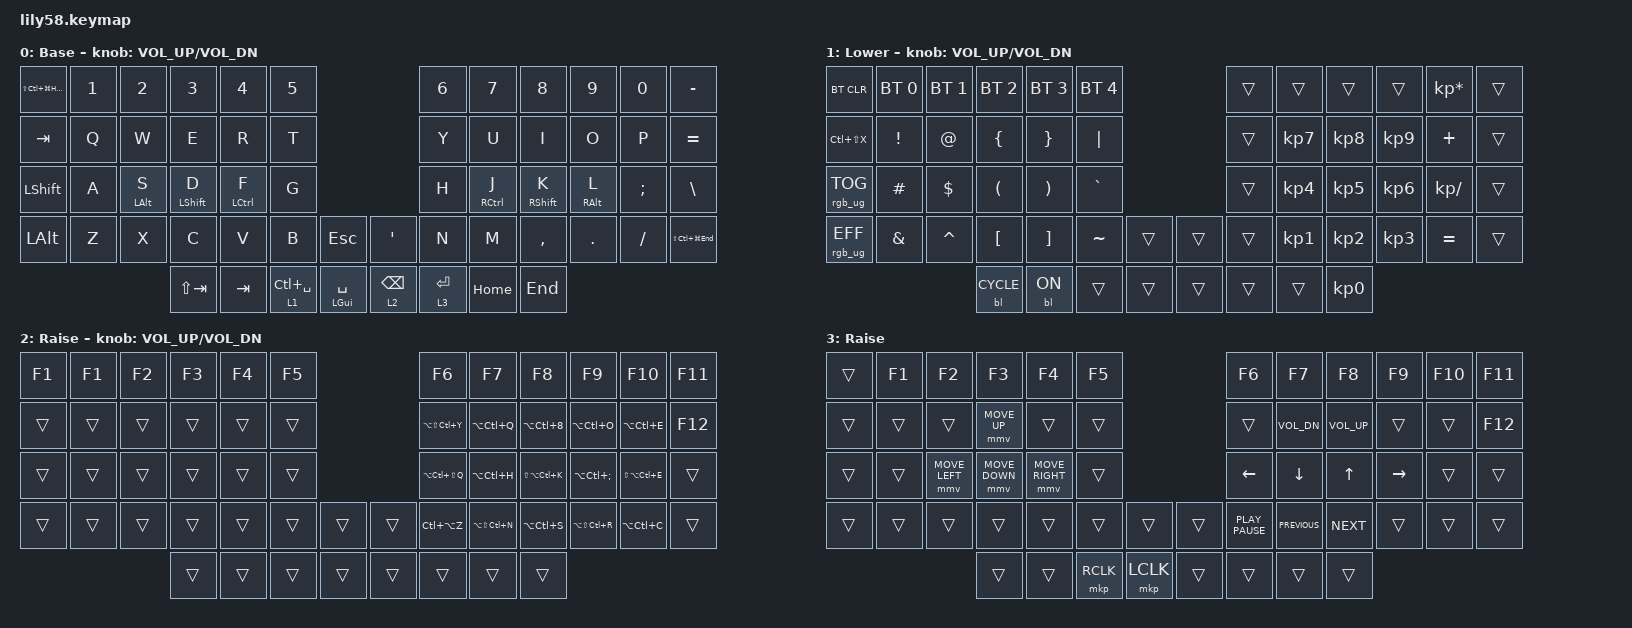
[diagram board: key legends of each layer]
/*
 * Copyright (c) 2020 The ZMK Contributors
 *
 * SPDX-License-Identifier: MIT
 */

#include <behaviors.dtsi>
#include <dt-bindings/zmk/backlight.h>
#include <dt-bindings/zmk/bt.h>
#include <dt-bindings/zmk/keys.h>
#include <dt-bindings/zmk/pointing.h>
#include <dt-bindings/zmk/rgb.h>

/ {
    behaviors {
        hold_or_tap: hold_or_tap {
            compatible = "zmk,behavior-hold-tap";
            label = "HOLD_OR_TAP";
            bindings = <&kp>, <&kp>;

            #binding-cells = <2>;
            tapping-term-ms = <200>;
            flavor = "tap-preferred";
        };
    };

    combos {
        compatible = "zmk,combos";

        tmux_next_window {
            bindings = <&tmux_next_window>;
            key-positions = <19 20 21>;
        };

        tmux_split_horizontally {
            bindings = <&tmux_split_horizontally>;
            key-positions = <32 31 33>;
        };

        tmux_split_vertically {
            bindings = <&tmux_split_vertically>;
            key-positions = <49 35 23>;
        };

        better_task_switcher {
            bindings = <&better_task_switcher>;
            key-positions = <52 16>;
        };

        better_task_switcher_shifted {
            bindings = <&better_task_switcher_shifted>;
            key-positions = <52 15>;
        };
    };

    macros {
        tmux_next_window: tmux_next_window {
            compatible = "zmk,behavior-macro";
            #binding-cells = <0>;
            bindings = <&macro_tap>, <&kp LC(A) &kp N>;

            label = "TMUX_NEXT_WINDOW";
        };

        tmux_split_horizontally: tmux_split_horizontally {
            compatible = "zmk,behavior-macro";
            #binding-cells = <0>;
            bindings = <&macro_tap>, <&kp LC(A) &kp DOUBLE_QUOTES>;

            label = "TMUX_SPLIT_HORIZONTALLY";
        };

        tmux_split_vertically: tmux_split_vertically {
            compatible = "zmk,behavior-macro";
            #binding-cells = <0>;
            bindings = <&macro_tap>, <&kp LC(A) &kp LS(N5)>;

            label = "TMUX_SPLIT_VERTICALLY";
        };

        better_task_switcher: better_task_switcher {
            compatible = "zmk,behavior-macro";
            #binding-cells = <0>;
            bindings = <&macro_press>, <&kp LGUI>, <&macro_tap>, <&kp TAB>;

            label = "BETTER_TASK_SWITCHER";
        };

        better_task_switcher_shifted: better_task_switcher_shifted {
            compatible = "zmk,behavior-macro";
            #binding-cells = <0>;
            bindings = <&macro_press>, <&kp LGUI>, <&macro_tap>, <&kp LS(TAB)>;

            label = "BETTER_TASK_SWITCHER_SHIFTED";
        };
    };

    keymap {
        compatible = "zmk,keymap";

        default_layer {
            // ------------------------------------------------------------------------------------------------------------
            // |  ESC  |  1  |  2  |  3   |  4   |  5   |                   |  6   |  7    |  8    |  9   |   0   |   `   |
            // |  TAB  |  Q  |  W  |  E   |  R   |  T   |                   |  Y   |  U    |  I    |  O   |   P   |   -   |
            // |  CTRL |  A  |  S  |  D   |  F   |  G   |                   |  H   |  J    |  K    |  L   |   ;   |   '   |
            // | SHIFT |  Z  |  X  |  C   |  V   |  B   |   "["  |  |  "]"  |  N   |  M    |  ,    |  .   |   /   | SHIFT |
            //                     | ALT  | GUI  | LOWER|  SPACE |  | ENTER | RAISE| BSPC  | GUI   |

            display-name = "Base";
            bindings = <
&kp LS(LC(LG(HOME)))  &kp N1  &kp N2                   &kp N3                     &kp N4                       &kp N5                                                        &kp N6       &kp N7                        &kp N8                 &kp N9                    &kp N0    &kp MINUS
&kp TAB               &kp Q   &kp W                    &kp E                      &kp R                        &kp T                                                         &kp Y        &kp U                         &kp I                  &kp O                     &kp P     &kp EQUAL
&kp LEFT_SHIFT        &kp A   &hold_or_tap LEFT_ALT S  &hold_or_tap LEFT_SHIFT D  &hold_or_tap LEFT_CONTROL F  &kp G                                                         &kp H        &hold_or_tap RIGHT_CONTROL J  &hold_or_tap RSHIFT K  &hold_or_tap RIGHT_ALT L  &kp SEMI  &kp BACKSLASH
&kp LEFT_ALT          &kp Z   &kp X                    &kp C                      &kp V                        &kp B            &kp ESC                    &kp SINGLE_QUOTE  &kp N        &kp M                         &kp COMMA              &kp DOT                   &kp FSLH  &kp LS(LC(LG(END)))
                                                       &kp LS(TAB)                &kp TAB                      &lt 1 LC(SPACE)  &hold_or_tap LGUI SPACE    &lt 2 BACKSPACE   &lt 3 ENTER  &kp HOME                      &kp END
            >;

            sensor-bindings = <&inc_dec_kp C_VOL_UP C_VOL_DN>;
        };

        symbols {
            // ------------------------------------------------------------------------------------------------------------
            // | BTCLR | BT1 | BT2 |  BT3 |  BT4 |  BT5 |                   |      |       |       |      |       |       |
            // |  F1   |  F2 |  F3 |  F4  |  F5  |  F6  |                   |  F7  |  F8   |  F9   |  F10 |  F11  |  F12  |
            // |   `   |  !  |  @  |  #   |  $   |  %   |                   |  ^   |  &    |  *    |  (   |   )   |   ~   |
            // |       |     |     |      |      |      |        |  |       |      |  _    |  +    |  {   |   }   |  "|"  |
            //                     |      |      |      |        |  |       |      |       |       |

            display-name = "Lower";
            bindings = <
&bt BT_CLR       &bt BT_SEL 0     &bt BT_SEL 1  &bt BT_SEL 2          &bt BT_SEL 3           &bt BT_SEL 4                    &trans  &trans           &trans           &trans           &kp KP_MULTIPLY  &trans
&kp LC(LS(X))    &kp EXCLAMATION  &kp AT_SIGN   &kp LEFT_BRACE        &kp RIGHT_BRACE        &kp PIPE                        &trans  &kp KP_NUMBER_7  &kp KP_NUMBER_8  &kp KP_NUMBER_9  &kp PLUS         &trans
&rgb_ug RGB_TOG  &kp HASH         &kp DOLLAR    &kp LEFT_PARENTHESIS  &kp RIGHT_PARENTHESIS  &kp GRAVE                       &trans  &kp KP_NUMBER_4  &kp KP_NUMBER_5  &kp KP_NUMBER_6  &kp KP_SLASH     &trans
&rgb_ug RGB_EFF  &kp AMPERSAND    &kp CARET     &kp LEFT_BRACKET      &kp RIGHT_BRACKET      &kp TILDE     &trans    &trans  &trans  &kp KP_NUMBER_1  &kp KP_NUMBER_2  &kp KP_NUMBER_3  &kp EQUAL        &trans
                                                &bl BL_CYCLE          &bl BL_ON              &trans        &trans    &trans  &trans  &trans           &kp KP_NUMBER_0
            >;

            sensor-bindings = <&inc_dec_kp C_VOL_UP C_VOL_DN>;
        };

        window_mgt {
            // ------------------------------------------------------------------------------------------------------------
            // |       |     |     |      |      |      |                   |      |       |       |      |       |       |
            // |   `   |  1  |  2  |  3   |  4   |  5   |                   |  6   |   7   |   8   |  9   |   0   |       |
            // |   F1  |  F2 |  F3 |  F4  |  F5  |  F6  |                   |      |   <-  |   v   |  ^   |  ->   |       |
            // |   F7  |  F8 |  F9 |  F10 |  F11 |  F12 |        |  |       |  +   |   -   |   =   |  [   |   ]   |   \   |
            //                     |      |      |      |        |  |       |      |       |       |

            display-name = "Raise";
            bindings = <
&kp F1  &kp F1  &kp F2  &kp F3  &kp F4  &kp F5                    &kp F6             &kp F7             &kp F8             &kp F9             &kp F10            &kp F11
&trans  &trans  &trans  &trans  &trans  &trans                    &kp LA(LS(LC(Y)))  &kp LA(LC(Q))      &kp LA(LC(N8))     &kp LA(LC(O))      &kp LA(LC(E))      &kp F12
&trans  &trans  &trans  &trans  &trans  &trans                    &kp LA(LC(LS(Q)))  &kp LA(LC(H))      &kp LS(LA(LC(K)))  &kp LA(LC(SEMI))   &kp LS(LA(LC(E)))  &trans
&trans  &trans  &trans  &trans  &trans  &trans  &trans    &trans  &kp LC(LA(Z))      &kp LA(LS(LC(N)))  &kp LA(LC(S))      &kp LA(LS(LC(R)))  &kp LA(LC(C))      &trans
                        &trans  &trans  &trans  &trans    &trans  &trans             &trans             &trans
            >;

            sensor-bindings = <&inc_dec_kp C_VOL_UP C_VOL_DN>;
        };

        mouse {
            // ------------------------------------------------------------------------------------------------------------
            // |       |     |     |      |      |      |                   |      |       |       |      |       |       |
            // |   `   |  1  |  2  |  3   |  4   |  5   |                   |  6   |   7   |   8   |  9   |   0   |       |
            // |   F1  |  F2 |  F3 |  F4  |  F5  |  F6  |                   |      |   <-  |   v   |  ^   |  ->   |       |
            // |   F7  |  F8 |  F9 |  F10 |  F11 |  F12 |        |  |       |  +   |   -   |   =   |  [   |   ]   |   \   |
            //                     |      |      |      |        |  |       |      |       |       |

            display-name = "Raise";
            bindings = <
&trans  &kp F1  &kp F2          &kp F3          &kp F4           &kp F5                          &kp F6            &kp F7          &kp F8           &kp F9     &kp F10  &kp F11
&trans  &trans  &trans          &mmv MOVE_UP    &trans           &trans                          &trans            &kp C_VOL_DN    &kp C_VOLUME_UP  &trans     &trans   &kp F12
&trans  &trans  &mmv MOVE_LEFT  &mmv MOVE_DOWN  &mmv MOVE_RIGHT  &trans                          &kp LEFT          &kp DOWN        &kp UP_ARROW     &kp RIGHT  &trans   &trans
&trans  &trans  &trans          &trans          &trans           &trans     &trans       &trans  &kp K_PLAY_PAUSE  &kp K_PREVIOUS  &kp K_NEXT       &trans     &trans   &trans
                                &trans          &trans           &mkp RCLK  &mkp LCLK    &trans  &trans            &trans          &trans
            >;
        };

        extra_2 { status = "reserved"; };

        extra_3 { status = "reserved"; };
    };
};
